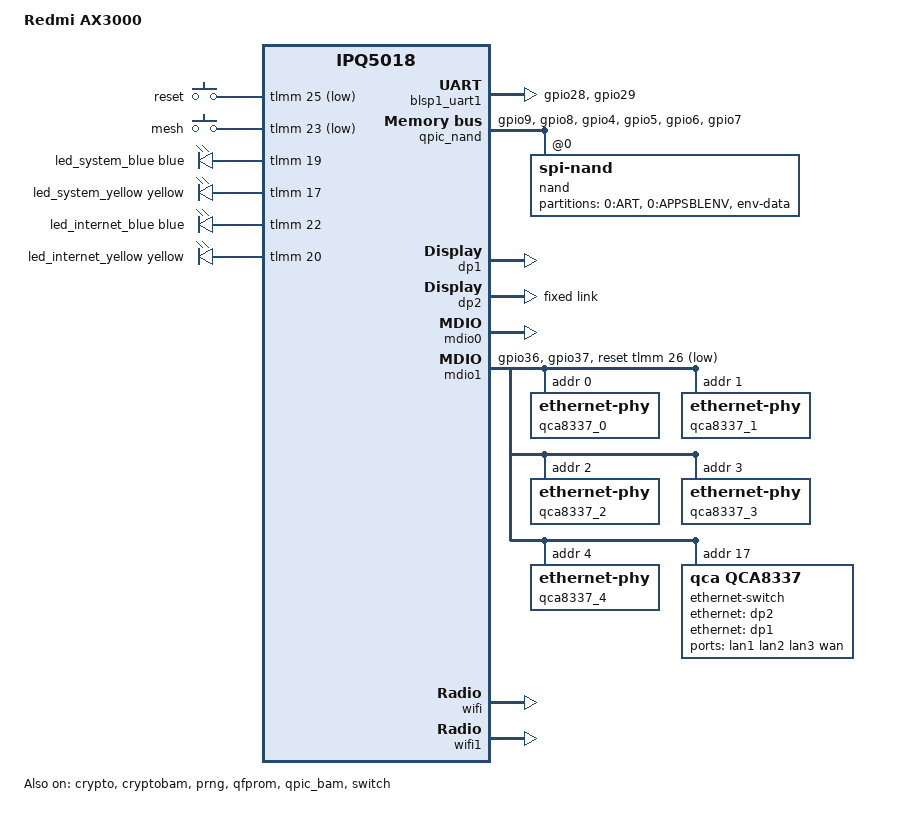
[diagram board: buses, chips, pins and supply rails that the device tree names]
// SPDX-License-Identifier: GPL-2.0-or-later OR MIT

/dts-v1/;

#include "ipq5018.dtsi"
#include "ipq5018-ess.dtsi"
#include "ipq5018-qcn6122.dtsi"

#include <dt-bindings/gpio/gpio.h>
#include <dt-bindings/input/input.h>
#include <dt-bindings/leds/common.h>

/ {
	model = "Redmi AX3000";
	compatible = "redmi,ax3000", "qcom,ipq5018";

	aliases {
		ethernet0 = &dp1;
		ethernet1 = &dp2;
		label-mac-device = &dp2;
		led-boot = &led_system_blue;
		led-failsafe = &led_system_yellow;
		led-running = &led_system_blue;
		led-upgrade = &led_system_yellow;
		serial0 = &blsp1_uart1;
	};

	chosen {
		bootargs-find-1 = "ubi.mtd=rootfs_1";
		bootargs-replace-1 = "ubi.mtd=rootfs";
		bootargs-append = " root=/dev/ubiblock0_1 rootwait coherent_pool=2M";
		stdout-path = "serial0:115200n8";
	};

	keys {
		compatible = "gpio-keys";
		pinctrl-0 = <&button_pins>;
		pinctrl-names = "default";

		reset-button {
			label = "reset";
			gpios = <&tlmm 25 GPIO_ACTIVE_LOW>;
			linux,code = <KEY_RESTART>;
			debounce-interval = <60>;
		};

		mesh-button {
			label = "mesh";
			gpios = <&tlmm 23 GPIO_ACTIVE_LOW>;
			linux,code = <KEY_WPS_BUTTON>;
			debounce-interval = <60>;
		};
	};

	leds {
		compatible = "gpio-leds";
		pinctrl-0 = <&leds_pins>;
		pinctrl-names = "default";

		led_system_blue: system-blue {
			color = <LED_COLOR_ID_BLUE>;
			function = LED_FUNCTION_POWER;
			gpios = <&tlmm 19 GPIO_ACTIVE_HIGH>;
			default-state = "on";
		};

		led_system_yellow: system-yellow {
			color = <LED_COLOR_ID_YELLOW>;
			function = LED_FUNCTION_POWER;
			gpios = <&tlmm 17 GPIO_ACTIVE_HIGH>;
		};

		led_internet_blue: internet-blue {
			color = <LED_COLOR_ID_BLUE>;
			function = LED_FUNCTION_WAN_ONLINE;
			gpios = <&tlmm 22 GPIO_ACTIVE_HIGH>;
		};

		led_internet_yellow: internet-yellow {
			color = <LED_COLOR_ID_YELLOW>;
			function = LED_FUNCTION_WAN;
			gpios = <&tlmm 20 GPIO_ACTIVE_HIGH>;
		};
	};
};

&sleep_clk {
	clock-frequency = <32000>;
};

&xo_board_clk {
	clock-div = <4>;
	clock-mult = <1>;
};

&blsp1_uart1 {
	pinctrl-0 = <&serial_0_pins>;
	pinctrl-names = "default";
	status = "okay";
};

&crypto {
	status = "okay";
};

&cryptobam {
	status = "okay";
};

&prng {
	status = "okay";
};

&qfprom {
	status = "okay";
};

&qpic_bam {
	status = "okay";
};

&qpic_nand {
	pinctrl-0 = <&qpic_pins>;
	pinctrl-names = "default";
	status = "okay";

	nand@0 {
		compatible = "spi-nand";
		reg = <0>;
		nand-ecc-engine = <&qpic_nand>;
		nand-bus-width = <8>;

		partitions {
			compatible = "qcom,smem-part";

			partition-0-art {
				label = "0:ART";
				read-only;

				nvmem-layout {
					compatible = "fixed-layout";
					#address-cells = <1>;
					#size-cells = <1>;

					hw_mac_addr: mac-address@0 {
						compatible = "mac-base";
						reg = <0x0 0x6>;
						#nvmem-cell-cells = <1>;
					};
				};
			};

			partition-0-appsblenv {
				compatible = "fixed-partitions";
				label = "0:APPSBLENV";
				#address-cells = <1>;
				#size-cells = <1>;

				partition@0 {
					label = "env-data";
					reg = <0x0 0x10000>;

					nvmem-layout {
						compatible = "u-boot,env";

						macaddr_appsblenv_ethaddr: ethaddr {
							compatible = "mac-base";
							#nvmem-cell-cells = <1>;
						};
					};
				};
			};
		};
	};
};

&switch {
	status = "okay";

	switch_mac_mode = <MAC_MODE_SGMII_CHANNEL0>;

	qcom,port_phyinfo {
		/* MAC0 -> GE PHY -> QCA8337 PHY4 */
		port@0 {
			port_id = <1>;
			mdiobus = <&mdio0>;
			phy_address = <7>;
			phy_dac = <0x10 0x10>;
		};

		/* MAC1 -> SGMII -> QCA8337 SerDes */
		port@1 {
			port_id = <2>;
			forced-speed = <1000>;
			forced-duplex = <1>;
		};
	};
};

&dp1 {
	status = "okay";

	nvmem-cells = <&hw_mac_addr 0>;
	nvmem-cell-names = "mac-address";
};

&dp2 {
	status = "okay";

	nvmem-cells = <&hw_mac_addr 1>;
	nvmem-cell-names = "mac-address";

	fixed-link {
		speed = <1000>;
		full-duplex;
	};
};

&mdio0 {
	status = "okay";
};

&ge_phy {
	qcom,dac-preset-short-cable;
};

&mdio1 {
	pinctrl-0 = <&mdio1_pins>;
	pinctrl-names = "default";
	reset-gpios = <&tlmm 26 GPIO_ACTIVE_LOW>;
	status = "okay";

	qca8337_0: ethernet-phy@0 {
		reg = <0>;
	};

	qca8337_1: ethernet-phy@1 {
		reg = <1>;
	};

	qca8337_2: ethernet-phy@2 {
		reg = <2>;
	};

	qca8337_3: ethernet-phy@3 {
		reg = <3>;
	};

	qca8337_4: ethernet-phy@4 {
		reg = <4>;
	};

	ethernet-switch@17 {
		compatible = "qca,qca8337";
		reg = <17>;
		#address-cells = <1>;
		#size-cells = <0>;

		ports {
			#address-cells = <1>;
			#size-cells = <0>;

			port@0 {
				reg = <0>;
				phy-mode = "sgmii";
				ethernet = <&dp2>;
				qca,sgmii-enable-pll;

				fixed-link {
					speed = <1000>;
					full-duplex;
				};
			};

			port@1 {
				reg = <1>;
				label = "lan1";
				phy-handle = <&qca8337_0>;
			};

			port@2 {
				reg = <2>;
				label = "lan2";
				phy-handle = <&qca8337_1>;
			};

			port@3 {
				reg = <3>;
				label = "lan3";
				phy-handle = <&qca8337_2>;
			};

			port@4 {
				reg = <4>;
				label = "wan";
				phy-handle = <&qca8337_3>;
			};

			port@5 {
				reg = <5>;
				phy-handle = <&qca8337_4>;
				phy-mode = "gmii";
				ethernet = <&dp1>;
			};
		};
	};
};

&tlmm {
	button_pins: button-state {
		pins = "gpio23", "gpio25";
		function = "gpio";
		drive-strength = <8>;
		bias-pull-up;
	};

	leds_pins: leds-state {
		pins = "gpio17", "gpio19", "gpio20", "gpio22";
		function = "gpio";
		drive-strength = <8>;
		bias-pull-down;
	};

	mdio1_pins: mdio-state {
		mdc-pins {
			pins = "gpio36";
			function = "mdc";
			drive-strength = <8>;
			bias-pull-up;
		};

		mdio-pins {
			pins = "gpio37";
			function = "mdio";
			drive-strength = <8>;
			bias-pull-up;
		};
	};

	qpic_pins: qpic-state {
		clock-pins {
			pins = "gpio9";
			function = "qspi_clk";
			drive-strength = <8>;
			bias-disable;
		};

		cs-pins {
			pins = "gpio8";
			function = "qspi_cs";
			drive-strength = <8>;
			bias-disable;
		};

		data-pins {
			pins = "gpio4", "gpio5", "gpio6", "gpio7";
			function = "qspi_data";
			drive-strength = <8>;
			bias-disable;
		};
	};

	serial_0_pins: uart0-state {
		pins = "gpio28", "gpio29";
		function = "blsp0_uart1";
		drive-strength = <8>;
		bias-disable;
	};
};

&q6v5_wcss {
	boot-args = <0x2 4 2 27 0 0>;
};

&wifi {
	status = "okay";

	qcom,rproc = <&q6_wcss_pd1>;
	qcom,ath11k-fw-memory-mode = <2>;
	qcom,bdf-addr = <0x4c400000>;
	qcom,board_id = <0x24>;

	ieee80211-freq-limit = <2400000 2483000>;
};

&wifi1 {
	status = "okay";

	qcom,rproc = <&q6_wcss_pd2>;
	qcom,userpd-subsys-name = "q6v5_wcss_userpd2";
	qcom,ath11k-fw-memory-mode = <2>;
	qcom,bdf-addr = <0x4d100000>;
	qcom,m3-dump-addr = <0x4df00000>;
	qcom,board_id = <0x60>;

	ieee80211-freq-limit = <5150000 5730000>;
};
